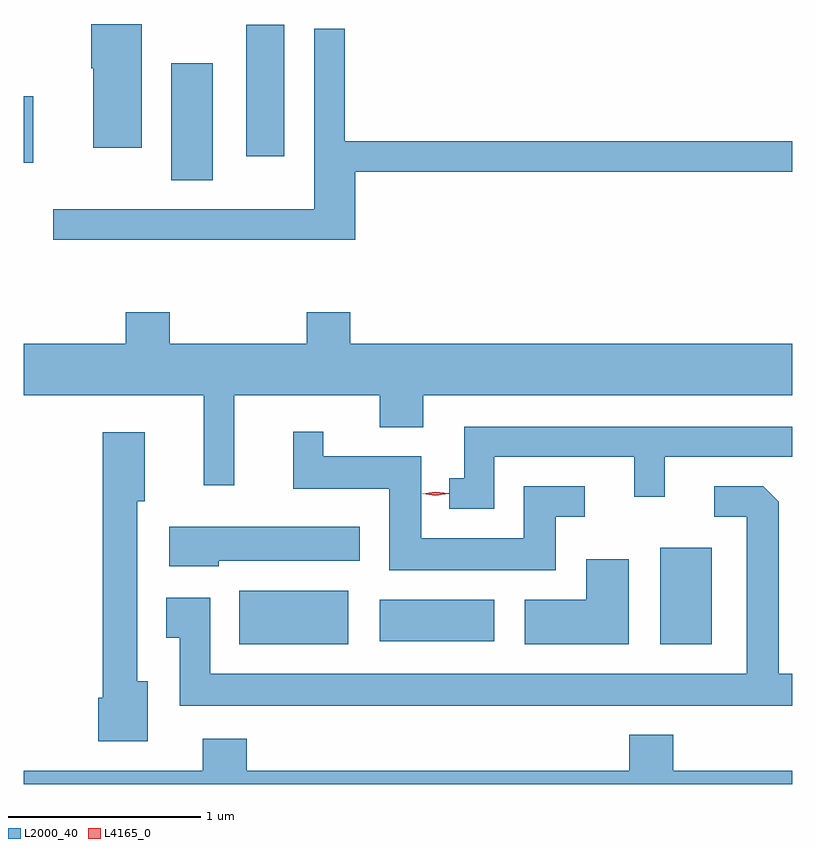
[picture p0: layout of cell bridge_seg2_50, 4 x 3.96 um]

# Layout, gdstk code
import gdstk
lib = gdstk.Library(unit=1e-6, precision=1e-09)
def R(c, l, rs):  # rectangles x0, y0, x1, y1
    for r in rs: c.add(gdstk.rectangle(r[:2], r[2:], *l))
def P(c, l, *ps):  # polygons
    for p in ps: c.add(gdstk.Polygon(p, *l))
L2000_40 = (2000, 40)
L4165_0 = (4165, 0)

bridge_seg2_50 = lib.new_cell('bridge_seg2_50')
R(bridge_seg2_50, L2000_40, [(1464.751,1055.901,1465.319,1056.179), (1466.941,1055.901,1467.209,1056.404), (1465.481,1055.916,1466.079,1056.134), (1464.396,1058.316,1464.614,1058.924), (1463.629,1058.406,1463.679,1058.754), (1464.786,1058.441,1464.984,1059.124)])
P(bridge_seg2_50, L2000_40, [(1464.244,1059.129),(1463.981,1059.129),(1463.981,1058.9),(1463.991,1058.9),(1463.991,1058.486),(1464.244,1058.486)],
  [(1465.354,1058.361),(1467.629,1058.361),(1467.629,1058.519),(1465.299,1058.519),(1465.299,1059.103),(1465.141,1059.103),(1465.141,1058.164),(1463.783,1058.164),(1463.783,1058.006),(1465.354,1058.006)],
  [(1464.724,1057.196),(1465.481,1057.196),(1465.481,1057.031),(1465.709,1057.031),(1465.709,1057.196),(1467.629,1057.196),(1467.629,1057.464),(1465.329,1057.464),(1465.329,1057.629),(1465.101,1057.629),(1465.101,1057.464),(1464.389,1057.464),(1464.389,1057.629),(1464.161,1057.629),(1464.161,1057.464),(1463.629,1057.464),(1463.629,1057.196),(1464.566,1057.196),(1464.566,1056.728),(1464.724,1056.728)],
  [(1466.079,1056.876),(1466.806,1056.876),(1466.806,1056.668),(1466.964,1056.668),(1466.964,1056.876),(1467.629,1056.876),(1467.629,1057.034),(1465.921,1057.034),(1465.921,1056.764),(1465.843,1056.764),(1465.843,1056.606),(1466.079,1056.606)],
  [(1466.399,1056.566),(1466.548,1056.566),(1466.548,1056.724),(1466.231,1056.724),(1466.231,1056.454),(1465.699,1056.454),(1465.699,1056.879),(1465.189,1056.879),(1465.189,1057.008),(1465.031,1057.008),(1465.031,1056.711),(1465.531,1056.711),(1465.531,1056.286),(1466.399,1056.286)],
  [(1464.274,1055.709),(1464.219,1055.709),(1464.219,1056.646),(1464.259,1056.646),(1464.259,1057.004),(1464.041,1057.004),(1464.041,1055.624),(1464.016,1055.624),(1464.016,1055.396),(1464.274,1055.396)],
  [(1467.629,1055.749),(1467.559,1055.749),(1467.559,1056.644),(1467.479,1056.724),(1467.223,1056.724),(1467.223,1056.566),(1467.391,1056.566),(1467.391,1055.749),(1464.599,1055.749),(1464.599,1056.144),(1464.371,1056.144),(1464.371,1055.936),(1464.441,1055.936),(1464.441,1055.581),(1467.629,1055.581)],
  [(1464.644,1056.336),(1465.379,1056.336),(1465.379,1056.514),(1464.386,1056.514),(1464.386,1056.306),(1464.644,1056.306)],
  [(1466.779,1056.344),(1466.556,1056.344),(1466.556,1056.134),(1466.236,1056.134),(1466.236,1055.901),(1466.779,1055.901)],
  [(1467.629,1055.244),(1467.009,1055.244),(1467.009,1055.429),(1466.781,1055.429),(1466.781,1055.244),(1464.789,1055.244),(1464.789,1055.409),(1464.561,1055.409),(1464.561,1055.244),(1463.629,1055.244),(1463.629,1055.174),(1467.629,1055.174)])
P(bridge_seg2_50, L4165_0, [(1465.772,1056.675),(1465.702,1056.684),(1465.702,1056.684),(1465.702,1056.685),(1465.772,1056.694),(1465.841,1056.686),(1465.841,1056.685),(1465.841,1056.684)])

lib.write_gds('bridge_seg2_50.gds')
